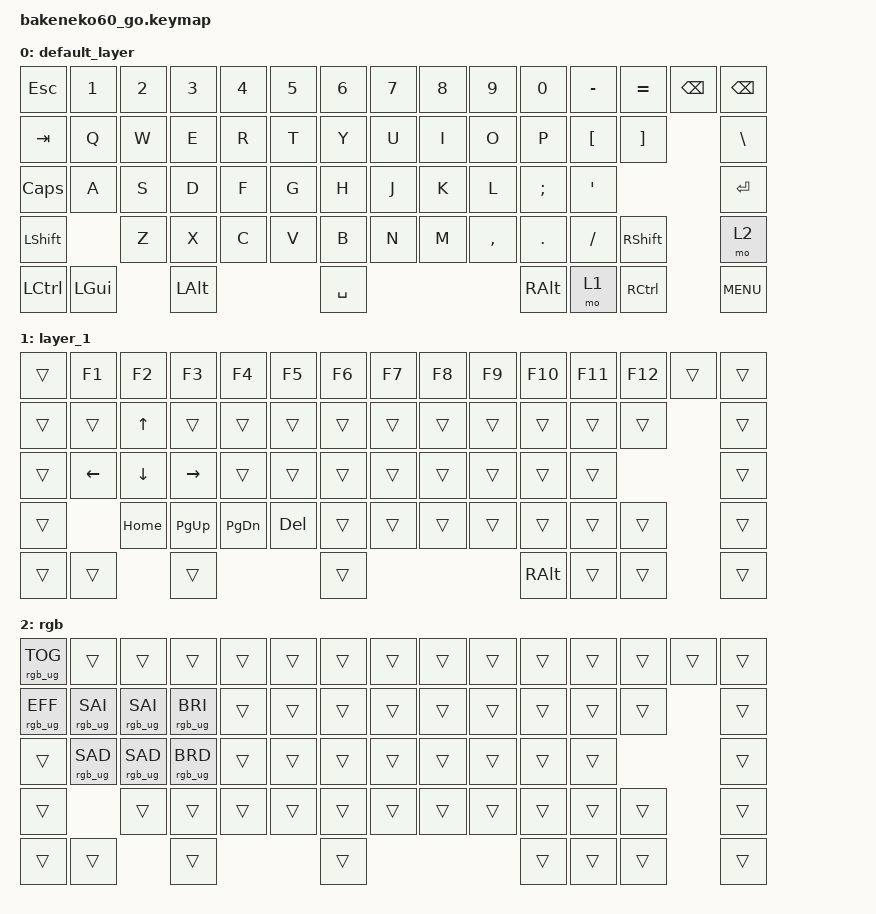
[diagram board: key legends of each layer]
/*
 * Copyright (c) 2023 Andrew Kannan
 *
 * SPDX-License-Identifier: MIT
 */

#include <behaviors.dtsi>
#include <dt-bindings/zmk/keys.h>
#include <dt-bindings/zmk/rgb.h>

/ {
    keymap {
        compatible = "zmk,keymap";

        default_layer {
            // ------------------------------------------------------------------------------------------
            // | ESC |  1  |  2  |  3  |  4  |  5  |  6  |  7  |  8  |  9  |  0  |  -  |  =  | BKSP|BKSP|
            // | TAB  |  Q  |  W  |  E  |  R  |  T  |  Y  |  U  |  I  |  O  |  P  |  [  |  ]  |   "|"   |
            // | CAPS  |  A  |  S  |  D  |  F  |  G  |  H  |  J  |  K  |  L  |  ;  |  '  |     ENTER    |
            // |  SHIFT  |  Z  |  X  |  C  |  V  |  B  |  N  |  M  |  ,  |  .  |  /  |  SHIFT  | MO(1)  |
            // |  CTL  |  WIN  |  ALT  |            SPACE              |  ALT  |  WIN  |  MO(1) |  CTL  |
            // ------------------------------------------------------------------------------------------

            bindings = <
&kp ESCAPE  &kp N1    &kp N2  &kp N3    &kp N4  &kp N5  &kp N6     &kp N7  &kp N8  &kp N9     &kp N0    &kp MINUS  &kp EQUAL  &kp BSPC  &kp BSPC
&kp TAB     &kp Q     &kp W   &kp E     &kp R   &kp T   &kp Y      &kp U   &kp I   &kp O      &kp P     &kp LBKT   &kp RBKT             &kp BSLH
&kp CLCK    &kp A     &kp S   &kp D     &kp F   &kp G   &kp H      &kp J   &kp K   &kp L      &kp SEMI  &kp SQT                         &kp RET
&kp LSHFT             &kp Z   &kp X     &kp C   &kp V   &kp B      &kp N   &kp M   &kp COMMA  &kp DOT   &kp FSLH   &kp RSHFT            &mo 2
&kp LCTRL   &kp LGUI          &kp LALT                  &kp SPACE                             &kp RALT  &mo 1      &kp RCTRL            &kp C_MENU
            >;
        };

        layer_1 {
            bindings = <
&trans  &kp F1          &kp F2          &kp F3       &kp F4         &kp F5   &kp F6  &kp F7  &kp F8  &kp F9  &kp F10        &kp F11  &kp F12  &trans  &trans
&trans  &trans          &kp UP_ARROW    &trans       &trans         &trans   &trans  &trans  &trans  &trans  &trans         &trans   &trans           &trans
&trans  &kp LEFT_ARROW  &kp DOWN_ARROW  &kp RIGHT    &trans         &trans   &trans  &trans  &trans  &trans  &trans         &trans                    &trans
&trans                  &kp HOME        &kp PAGE_UP  &kp PAGE_DOWN  &kp DEL  &trans  &trans  &trans  &trans  &trans         &trans   &trans           &trans
&trans  &trans                          &trans                               &trans                          &kp RIGHT_ALT  &trans   &trans           &trans
            >;
        };

        rgb {
            bindings = <
&rgb_ug RGB_TOG  &trans           &trans           &trans           &trans  &trans  &trans  &trans  &trans  &trans  &trans  &trans  &trans  &trans  &trans
&rgb_ug RGB_EFF  &rgb_ug RGB_SAI  &rgb_ug RGB_SAI  &rgb_ug RGB_BRI  &trans  &trans  &trans  &trans  &trans  &trans  &trans  &trans  &trans          &trans
&trans           &rgb_ug RGB_SAD  &rgb_ug RGB_SAD  &rgb_ug RGB_BRD  &trans  &trans  &trans  &trans  &trans  &trans  &trans  &trans                  &trans
&trans                            &trans           &trans           &trans  &trans  &trans  &trans  &trans  &trans  &trans  &trans  &trans          &trans
&trans           &trans                            &trans                           &trans                          &trans  &trans  &trans          &trans
            >;
        };
    };

    combos {
        compatible = "zmk,combos";

        combo_bt {
            timeout-ms = <50>;
            key-positions = <61 62>;
            bindings = <&mo 0>;
        };
    };
};
